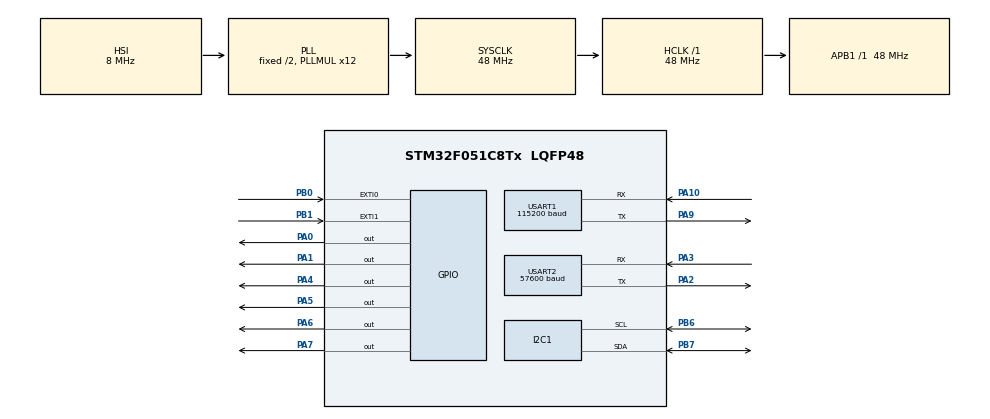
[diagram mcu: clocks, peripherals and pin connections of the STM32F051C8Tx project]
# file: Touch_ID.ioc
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Dma.Request0=USART2_RX
Dma.USART2_RX.0.Direction=DMA_PERIPH_TO_MEMORY
Dma.USART2_RX.0.Instance=DMA1_Channel5
Dma.USART2_RX.0.MemDataAlignment=DMA_MDATAALIGN_BYTE
Dma.USART2_RX.0.MemInc=DMA_MINC_ENABLE
Dma.USART2_RX.0.Mode=DMA_NORMAL
Dma.USART2_RX.0.PeriphDataAlignment=DMA_PDATAALIGN_BYTE
Dma.USART2_RX.0.PeriphInc=DMA_PINC_DISABLE
Dma.USART2_RX.0.Priority=DMA_PRIORITY_LOW
I2C1.OwnAddress=0x33
I2C1.Timing=0x2000090E
Mcu.Family=STM32F0
Mcu.Name=STM32F051C8Tx
Mcu.Package=LQFP48
NVIC.DMA1_Channel4_5_IRQn=true\:0\:0\:false\:false\:true
NVIC.EXTI0_1_IRQn=true\:0\:0\:false\:false\:true
NVIC.USART1_IRQn=true\:0\:0\:false\:false\:true
NVIC.USART2_IRQn=true\:0\:0\:false\:false\:true
PA0.GPIO_Speed=GPIO_SPEED_FREQ_HIGH
PA0.Signal=GPIO_Output
PA1.GPIO_Speed=GPIO_SPEED_FREQ_HIGH
PA1.Signal=GPIO_Output
PA10.Mode=Asynchronous
PA10.Signal=USART1_RX
PA13.Mode=Serial_Wire
PA13.Signal=SYS_SWDIO
PA14.Mode=Serial_Wire
PA14.Signal=SYS_SWCLK
PA2.Mode=Asynchronous
PA2.Signal=USART2_TX
PA3.Mode=Asynchronous
PA3.Signal=USART2_RX
PA4.GPIO_Speed=GPIO_SPEED_FREQ_HIGH
PA4.Signal=GPIO_Output
PA5.GPIO_Speed=GPIO_SPEED_FREQ_HIGH
PA5.Signal=GPIO_Output
PA6.GPIO_Speed=GPIO_SPEED_FREQ_HIGH
PA6.Signal=GPIO_Output
PA7.GPIO_Speed=GPIO_SPEED_FREQ_HIGH
PA7.Signal=GPIO_Output
PA9.Mode=Asynchronous
PA9.Signal=USART1_TX
PB0.GPIO_ModeDefaultEXTI=GPIO_MODE_IT_FALLING
PB0.Signal=GPXTI0
PB1.GPIO_ModeDefaultEXTI=GPIO_MODE_IT_FALLING
PB1.Signal=GPXTI1
PB6.Mode=I2C
PB6.Signal=I2C1_SCL
PB7.Mode=I2C
PB7.Signal=I2C1_SDA
PC14-OSC32_IN.Mode=LSE-External-Oscillator
PC14-OSC32_IN.Signal=RCC_OSC32_IN
PC15-OSC32_OUT.Mode=LSE-External-Oscillator
PC15-OSC32_OUT.Signal=RCC_OSC32_OUT
PF0-OSC_IN.Mode=HSE-External-Clock-Source
PF0-OSC_IN.Signal=RCC_OSC_IN
ProjectManager.HeapSize=0x200
ProjectManager.StackSize=0x400
ProjectManager.TargetToolchain=MDK-ARM V5
RCC.AHBFreq_Value=48000000
RCC.APB1Freq_Value=48000000
RCC.APB1TimFreq_Value=48000000
RCC.HCLKFreq_Value=48000000
RCC.PLLMUL=RCC_PLL_MUL12
RCC.SYSCLKFreq_VALUE=48000000
RCC.SYSCLKSource=RCC_SYSCLKSOURCE_PLLCLK
USART1.BaudRate=115200
USART2.BaudRate=57600
board=Touch_ID

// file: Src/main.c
/**
  ******************************************************************************
  * File Name          : main.c
  * Description        : Main program body
  ******************************************************************************
  *
  * COPYRIGHT(c) 2019 STMicroelectronics
  *
  * Redistribution and use in source and binary forms, with or without modification,
  * are permitted provided that the following conditions are met:
  *   1. Redistributions of source code must retain the above copyright notice,
  *      this list of conditions and the following disclaimer.
  *   2. Redistributions in binary form must reproduce the above copyright notice,
  *      this list of conditions and the following disclaimer in the documentation
  *      and/or other materials provided with the distribution.
  *   3. Neither the name of STMicroelectronics nor the names of its contributors
  *      may be used to endorse or promote products derived from this software
  *      without specific prior written permission.
  *
  * THIS SOFTWARE IS PROVIDED BY THE COPYRIGHT HOLDERS AND CONTRIBUTORS "AS IS"
  * AND ANY EXPRESS OR IMPLIED WARRANTIES, INCLUDING, BUT NOT LIMITED TO, THE
  * IMPLIED WARRANTIES OF MERCHANTABILITY AND FITNESS FOR A PARTICULAR PURPOSE ARE
  * DISCLAIMED. IN NO EVENT SHALL THE COPYRIGHT HOLDER OR CONTRIBUTORS BE LIABLE
  * FOR ANY DIRECT, INDIRECT, INCIDENTAL, SPECIAL, EXEMPLARY, OR CONSEQUENTIAL
  * DAMAGES (INCLUDING, BUT NOT LIMITED TO, PROCUREMENT OF SUBSTITUTE GOODS OR
  * SERVICES; LOSS OF USE, DATA, OR PROFITS; OR BUSINESS INTERRUPTION) HOWEVER
  * CAUSED AND ON ANY THEORY OF LIABILITY, WHETHER IN CONTRACT, STRICT LIABILITY,
  * OR TORT (INCLUDING NEGLIGENCE OR OTHERWISE) ARISING IN ANY WAY OUT OF THE USE
  * OF THIS SOFTWARE, EVEN IF ADVISED OF THE POSSIBILITY OF SUCH DAMAGE.
  *
  ******************************************************************************
  */
#include "stm32f0xx_hal.h"
#include "dma.h"
#include "i2c.h"
#include "usart.h"
#include "gpio.h"

/* USER CODE BEGIN Includes */
#include "lcd.h"
#include "logo.h"
#include "font.h"
#include "FPM_Finger.h"
/* USER CODE END Includes */

/* USER CODE BEGIN PV */
/* Private variables ---------------------------------------------------------*/
extern uint8_t FPM_Data[128]; //用于存放指令数据域的值
extern uint8_t UART_FPM_CMD[256]; //用于存放指令，方面串口发送
extern uint8_t KEY3_FLAG;//KEY3按键标志位
extern uint8_t dma_state;//串口DMA接收数据状态标识
extern uint8_t UART_SEND_FLAG;
extern uint8_t UART_RECV_FLAG;
extern uint16_t Person_num ;
uint8_t KEY2_FLAG;//KEY2按键标志位

volatile uint16_t FingerCount = 0; //用于存放指纹个数
/* USER CODE END PV */

void SystemClock_Config(void);
void Error_Handler(void);

/* USER CODE BEGIN PFP */
/* Private function prototypes -----------------------------------------------*/

/* USER CODE END PFP */

/* USER CODE BEGIN 0 */
uint8_t retvalue = 10;
unsigned char Show_find_man_num[128] = {0};
/* USER CODE END 0 */

int main(void)
{

  /* MCU Configuration----------------------------------------------------------*/

  /* Reset of all peripherals, Initializes the Flash interface and the Systick. */
  HAL_Init();

  /* Configure the system clock */
  SystemClock_Config();

  /* Initialize all configured peripherals */
  MX_GPIO_Init();
  MX_DMA_Init();
  MX_I2C1_Init();
  MX_USART1_UART_Init();
  MX_USART2_UART_Init();

  /* USER CODE BEGIN 2 */
	///识别指纹部分，添加指纹部分
	//删除指纹部分的代码没有这一项
	Lcd_Init();
  __HAL_UART_ENABLE_IT(&huart2, UART_IT_IDLE);
	HAL_GPIO_WritePin(GPIOA,GPIO_PIN_0,GPIO_PIN_SET);
	Lcd_Clear(GREEN);
	showimage_farsight(gImage_logo);
	Gui_DrawFont_GBK16(28,40,BLUE,GREEN,(uint8_t *)"Touch ID");
  /* USER CODE END 2 */

  /* Infinite loop */
  /* USER CODE BEGIN WHILE */
  while (1)
  {
		if(HAL_GPIO_ReadPin(GPIOB,GPIO_PIN_1) == 0)
		{
			HAL_Delay(10);
			if(HAL_GPIO_ReadPin(GPIOB,GPIO_PIN_1) == 0)
			{
				KEY2_FLAG = 0;
				if(KEY2_FLAG == 0)
				{
					HAL_GPIO_WritePin(GPIOB,GPIO_PIN_2,GPIO_PIN_SET);
					//录入指纹 灯亮 begin
					buffer1:
					while(Find_Finger_And_Save_ImageBuffer() != 0);
					while(Get_Finger_Feature_Save_To_CharBuffer1or2(0x01) != 0){goto buffer1;}
					buffer2:
					while(Find_Finger_And_Save_ImageBuffer() != 0);
					while(Get_Finger_Feature_Save_To_CharBuffer1or2(0x02) != 0){goto buffer2;}
					while(Combine_Finger_Feature() != 0);
					if(Save_Finger_Form_To_Flash_Position(0x01,FingerCount) == 0)
					{
						FingerCount++;
		#if DEBUG
						printf("??????è?3é1|\n");
		#endif
						Gui_DrawFont_GBK16(15,80,BLACK,GREEN,(uint8_t *)"              ");
						Gui_DrawFont_GBK16(15,80,BLACK,GREEN,(uint8_t *)"Finger In OK!");
						TIP_WRITE_SUCCESS();
					}
					else
					{
						TIP_WRITE_FAILED();
					}
					//录入指纹 end

					KEY2_FLAG = 1;
				}else{
					HAL_GPIO_WritePin(GPIOB,GPIO_PIN_2,GPIO_PIN_RESET);
					//扫描指纹 灯灭 begin
					if(Find_Finger_And_Save_ImageBuffer() == 0){
					if(Get_Finger_Feature_Save_To_CharBuffer1or2(0x01) == 0){
						if(Search_Finger_In_Finlib(0x01,0x0000,0x039E) == 0){
							sprintf((char *)Show_find_man_num,"Find man %d!",Person_num);
							Gui_DrawFont_GBK16(15,80,BLACK,GREEN,(uint8_t *)"              ");
							Gui_DrawFont_GBK16(15,80,BLACK,GREEN,Show_find_man_num);
							TIP_SUCCESS();
						}
						else
						{
							Gui_DrawFont_GBK16(15,80,BLACK,GREEN,(uint8_t *)"              ");
							Gui_DrawFont_GBK16(18,80,BLACK,GREEN,(uint8_t *)"Can`t Find!");
							TIP_FAILED();
						}
					}
				}
					KEY2_FLAG = 0;
				}
				//扫描指纹end

				while(HAL_GPIO_ReadPin(GPIOB,GPIO_PIN_0) == 1);
				KEY2_FLAG = 0;
			}
		}

  }
		HAL_Delay(10);
  /* USER CODE END WHILE */

}

/** System Clock Configuration
*/
void SystemClock_Config(void)
{

  RCC_OscInitTypeDef RCC_OscInitStruct;
  RCC_ClkInitTypeDef RCC_ClkInitStruct;
  RCC_PeriphCLKInitTypeDef PeriphClkInit;

  RCC_OscInitStruct.OscillatorType = RCC_OSCILLATORTYPE_HSI;
  RCC_OscInitStruct.HSIState = RCC_HSI_ON;
  RCC_OscInitStruct.HSICalibrationValue = 16;
  RCC_OscInitStruct.PLL.PLLState = RCC_PLL_ON;
  RCC_OscInitStruct.PLL.PLLSource = RCC_PLLSOURCE_HSI;
  RCC_OscInitStruct.PLL.PLLMUL = RCC_PLL_MUL12;
  RCC_OscInitStruct.PLL.PREDIV = RCC_PREDIV_DIV1;
  if (HAL_RCC_OscConfig(&RCC_OscInitStruct) != HAL_OK)
  {
    Error_Handler();
  }

  RCC_ClkInitStruct.ClockType = RCC_CLOCKTYPE_HCLK|RCC_CLOCKTYPE_SYSCLK
                              |RCC_CLOCKTYPE_PCLK1;
  RCC_ClkInitStruct.SYSCLKSource = RCC_SYSCLKSOURCE_PLLCLK;
  RCC_ClkInitStruct.AHBCLKDivider = RCC_SYSCLK_DIV1;
  RCC_ClkInitStruct.APB1CLKDivider = RCC_HCLK_DIV1;
  if (HAL_RCC_ClockConfig(&RCC_ClkInitStruct, FLASH_LATENCY_1) != HAL_OK)
  {
    Error_Handler();
  }

  PeriphClkInit.PeriphClockSelection = RCC_PERIPHCLK_USART1|RCC_PERIPHCLK_I2C1;
  PeriphClkInit.Usart1ClockSelection = RCC_USART1CLKSOURCE_PCLK1;
  PeriphClkInit.I2c1ClockSelection = RCC_I2C1CLKSOURCE_HSI;
  if (HAL_RCCEx_PeriphCLKConfig(&PeriphClkInit) != HAL_OK)
  {
    Error_Handler();
  }

  HAL_SYSTICK_Config(HAL_RCC_GetHCLKFreq()/1000);

  HAL_SYSTICK_CLKSourceConfig(SYSTICK_CLKSOURCE_HCLK);

  /* SysTick_IRQn interrupt configuration */
  HAL_NVIC_SetPriority(SysTick_IRQn, 0, 0);
}

/* USER CODE BEGIN 4 */
int fputc(int ch, FILE *f)
{
    while((USART1->ISR&0X40)==0);
    USART1->TDR = (uint8_t) ch;
    return ch;
}
/* USER CODE END 4 */

void Error_Handler(void)
{
  while(1)
  {
  }
}

/************************ (C) COPYRIGHT STMicroelectronics *****END OF FILE****/
